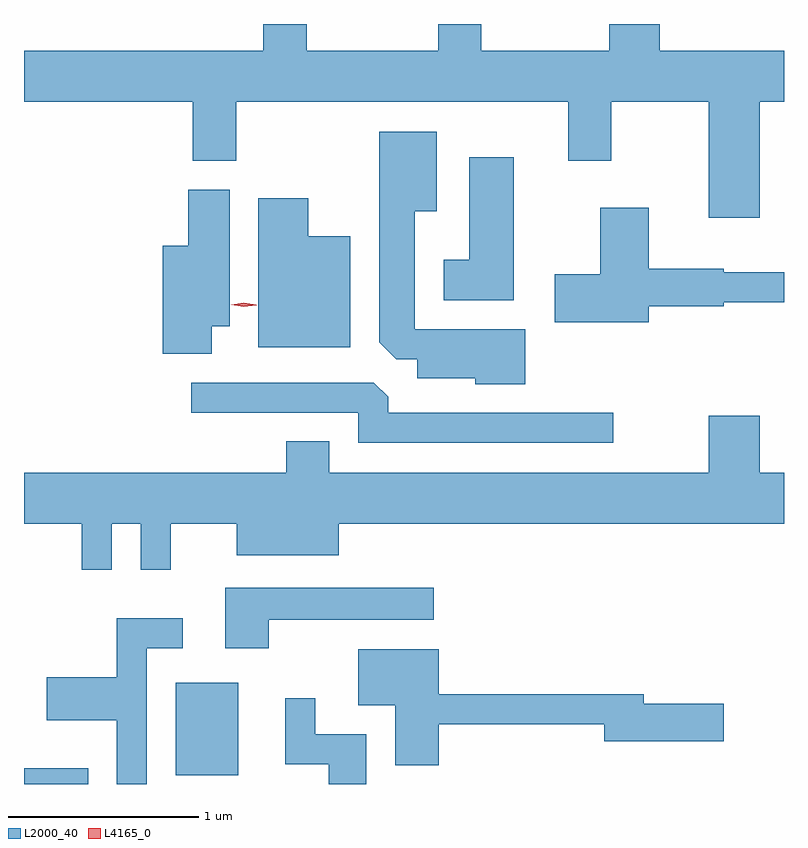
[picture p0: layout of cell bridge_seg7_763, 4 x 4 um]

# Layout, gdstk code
import gdstk
lib = gdstk.Library(unit=1e-6, precision=1e-09)
def R(c, l, rs):  # rectangles x0, y0, x1, y1
    for r in rs: c.add(gdstk.rectangle(r[:2], r[2:], *l))
def P(c, l, *ps):  # polygons
    for p in ps: c.add(gdstk.Polygon(p, *l))
L2000_40 = (2000, 40)
L4165_0 = (4165, 0)

bridge_seg7_763 = lib.new_cell('bridge_seg7_763')
R(bridge_seg7_763, L2000_40, [(251.432,1799.526,251.769,1799.609), (252.231,1799.571,252.559,1800.059)])
P(bridge_seg7_763, L2000_40, [(255.304,1803.116),(255.432,1803.116),(255.432,1803.384),(254.779,1803.384),(254.779,1803.526),(254.511,1803.526),(254.511,1803.384),(253.839,1803.384),(253.839,1803.526),(253.611,1803.526),(253.611,1803.384),(252.919,1803.384),(252.919,1803.526),(252.691,1803.526),(252.691,1803.384),(251.432,1803.384),(251.432,1803.116),(252.321,1803.116),(252.321,1802.806),(252.549,1802.806),(252.549,1803.116),(254.296,1803.116),(254.296,1802.806),(254.524,1802.806),(254.524,1803.116),(255.036,1803.116),(255.036,1802.506),(255.304,1802.506)],
  [(254.069,1801.919),(253.489,1801.919),(253.489,1802.541),(253.604,1802.541),(253.604,1802.959),(253.301,1802.959),(253.301,1801.852),(253.392,1801.761),(253.501,1801.761),(253.501,1801.661),(253.806,1801.661),(253.806,1801.631),(254.069,1801.631)],
  [(254.009,1802.824),(253.776,1802.824),(253.776,1802.284),(253.641,1802.284),(253.641,1802.071),(254.009,1802.071)],
  [(252.419,1801.936),(252.514,1801.936),(252.514,1802.654),(252.296,1802.654),(252.296,1802.359),(252.161,1802.359),(252.161,1801.791),(252.419,1801.791)],
  [(253.149,1802.409),(252.929,1802.409),(252.929,1802.609),(252.666,1802.609),(252.666,1801.826),(253.149,1801.826)],
  [(254.719,1802.041),(255.114,1802.041),(255.114,1802.061),(255.432,1802.061),(255.432,1802.219),(255.114,1802.219),(255.114,1802.239),(254.719,1802.239),(254.719,1802.559),(254.466,1802.559),(254.466,1802.209),(254.226,1802.209),(254.226,1801.956),(254.719,1801.956)],
  [(254.533,1801.479),(253.349,1801.479),(253.349,1801.564),(253.274,1801.639),(252.313,1801.639),(252.313,1801.481),(253.191,1801.481),(253.191,1801.321),(254.533,1801.321)],
  [(251.894,1800.896),(252.046,1800.896),(252.046,1800.653),(252.204,1800.653),(252.204,1800.896),(252.551,1800.896),(252.551,1800.731),(253.089,1800.731),(253.089,1800.896),(255.432,1800.896),(255.432,1801.164),(255.304,1801.164),(255.304,1801.464),(255.036,1801.464),(255.036,1801.164),(253.039,1801.164),(253.039,1801.329),(252.811,1801.329),(252.811,1801.164),(251.432,1801.164),(251.432,1800.896),(251.736,1800.896),(251.736,1800.653),(251.894,1800.653)],
  [(252.719,1800.391),(253.588,1800.391),(253.588,1800.559),(252.491,1800.559),(252.491,1800.241),(252.719,1800.241)],
  [(252.079,1800.241),(252.268,1800.241),(252.268,1800.399),(251.921,1800.399),(251.921,1800.089),(251.551,1800.089),(251.551,1799.861),(251.921,1799.861),(251.921,1799.526),(252.079,1799.526)],
  [(253.614,1799.841),(254.486,1799.841),(254.486,1799.751),(255.114,1799.751),(255.114,1799.949),(254.694,1799.949),(254.694,1799.999),(253.614,1799.999),(253.614,1800.234),(253.191,1800.234),(253.191,1799.941),(253.386,1799.941),(253.386,1799.626),(253.614,1799.626)],
  [(253.234,1799.789),(252.964,1799.789),(252.964,1799.978),(252.806,1799.978),(252.806,1799.631),(253.036,1799.631),(253.036,1799.526),(253.234,1799.526)])
P(bridge_seg7_763, L4165_0, [(252.589,1802.038),(252.523,1802.048),(252.523,1802.048),(252.523,1802.048),(252.589,1802.058),(252.655,1802.048),(252.656,1802.047),(252.655,1802.046)])

lib.write_gds('bridge_seg7_763.gds')
